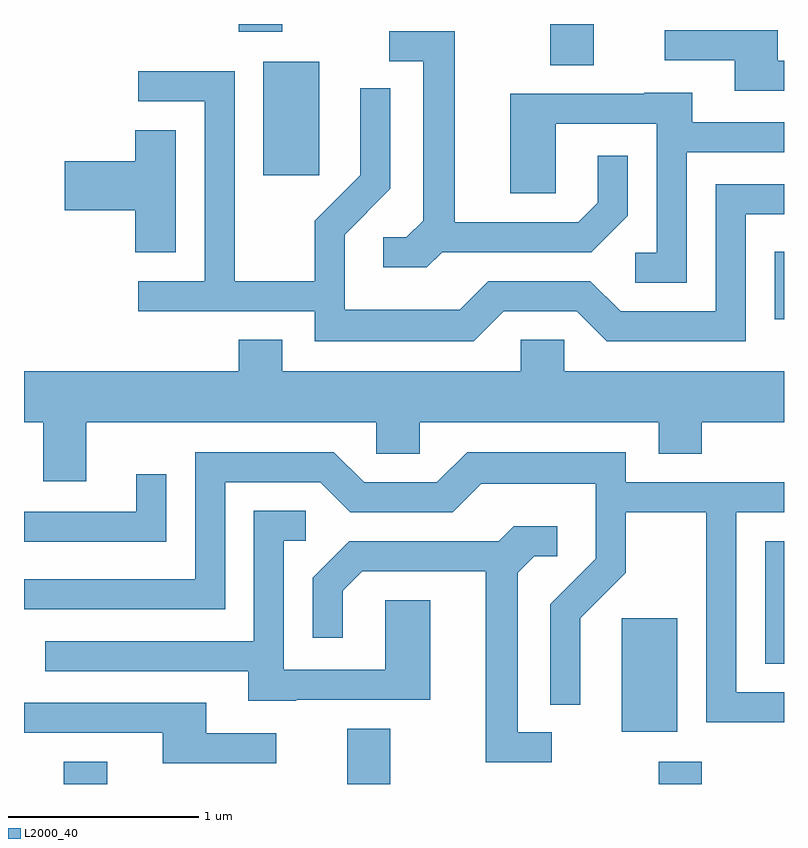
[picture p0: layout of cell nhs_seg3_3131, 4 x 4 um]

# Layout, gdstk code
import gdstk
lib = gdstk.Library(unit=1e-6, precision=1e-09)
def R(c, l, rs):  # rectangles x0, y0, x1, y1
    for r in rs: c.add(gdstk.rectangle(r[:2], r[2:], *l))
def P(c, l, *ps):  # polygons
    for p in ps: c.add(gdstk.Polygon(p, *l))
L2000_40 = (2000, 40)

nhs_seg3_3131 = lib.new_cell('nhs_seg3_3131')
R(nhs_seg3_3131, L2000_40, [(277.821,1121.892,278.049,1122.009), (279.311,1121.892,279.539,1122.184), (280.951,1121.892,281.179,1122.009), (280.756,1122.166,281.049,1122.764), (281.511,1122.526,281.611,1123.169), (281.561,1124.338,281.611,1124.694), (278.871,1125.096,279.164,1125.694), (280.381,1125.676,280.609,1125.892), (278.741,1125.851,278.969,1125.892)])
P(nhs_seg3_3131, L2000_40, [(281.611,1125.699),(281.579,1125.699),(281.579,1125.859),(280.983,1125.859),(280.983,1125.701),(281.351,1125.701),(281.351,1125.541),(281.611,1125.541)],
  [(279.812,1124.691),(280.597,1124.691),(280.789,1124.884),(280.789,1125.198),(280.631,1125.198),(280.631,1124.952),(280.529,1124.849),(279.879,1124.849),(279.879,1125.854),(279.533,1125.854),(279.533,1125.696),(279.711,1125.696),(279.711,1124.857),(279.624,1124.769),(279.503,1124.769),(279.503,1124.611),(279.732,1124.611)],
  [(280.137,1124.381),(280.519,1124.381),(280.679,1124.221),(281.409,1124.221),(281.409,1124.891),(281.611,1124.891),(281.611,1125.049),(281.251,1125.049),(281.251,1124.379),(280.752,1124.379),(280.592,1124.539),(280.054,1124.539),(279.904,1124.389),(279.299,1124.389),(279.299,1124.784),(279.539,1125.024),(279.539,1125.553),(279.381,1125.553),(279.381,1125.097),(279.141,1124.857),(279.141,1124.539),(278.719,1124.539),(278.719,1125.644),(278.213,1125.644),(278.213,1125.486),(278.561,1125.486),(278.561,1124.539),(278.213,1124.539),(278.213,1124.381),(279.141,1124.381),(279.141,1124.221),(279.977,1124.221)],
  [(281.099,1125.216),(281.611,1125.216),(281.611,1125.374),(281.129,1125.374),(281.129,1125.529),(280.875,1125.529),(280.875,1125.524),(280.171,1125.524),(280.171,1125.001),(280.409,1125.001),(280.409,1125.366),(280.941,1125.366),(280.941,1124.689),(280.828,1124.689),(280.828,1124.531),(281.099,1124.531)],
  [(278.409,1125.334),(278.196,1125.334),(278.196,1125.169),(277.826,1125.169),(277.826,1124.911),(278.196,1124.911),(278.196,1124.691),(278.409,1124.691)],
  [(277.939,1123.796),(279.466,1123.796),(279.466,1123.631),(279.694,1123.631),(279.694,1123.796),(280.951,1123.796),(280.951,1123.631),(281.179,1123.631),(281.179,1123.796),(281.611,1123.796),(281.611,1124.064),(280.454,1124.064),(280.454,1124.229),(280.226,1124.229),(280.226,1124.064),(278.969,1124.064),(278.969,1124.229),(278.741,1124.229),(278.741,1124.064),(277.611,1124.064),(277.611,1123.796),(277.711,1123.796),(277.711,1123.486),(277.939,1123.486)],
  [(281.611,1122.374),(281.359,1122.374),(281.359,1123.321),(281.611,1123.321),(281.611,1123.479),(280.779,1123.479),(280.779,1123.639),(279.944,1123.639),(279.784,1123.479),(279.402,1123.479),(279.242,1123.639),(278.511,1123.639),(278.511,1122.969),(277.611,1122.969),(277.611,1122.811),(278.669,1122.811),(278.669,1123.481),(279.169,1123.481),(279.329,1123.321),(279.867,1123.321),(280.017,1123.471),(280.621,1123.471),(280.621,1123.077),(280.381,1122.837),(280.381,1122.308),(280.539,1122.308),(280.539,1122.764),(280.779,1123.004),(280.779,1123.321),(281.201,1123.321),(281.201,1122.216),(281.611,1122.216)],
  [(278.359,1123.523),(278.201,1123.523),(278.201,1123.324),(277.611,1123.324),(277.611,1123.166),(278.359,1123.166)],
  [(279.045,1122.336),(279.749,1122.336),(279.749,1122.859),(279.511,1122.859),(279.511,1122.494),(278.979,1122.494),(278.979,1123.171),(279.093,1123.171),(279.093,1123.329),(278.821,1123.329),(278.821,1122.644),(277.723,1122.644),(277.723,1122.486),(278.791,1122.486),(278.791,1122.331),(279.045,1122.331)],
  [(280.388,1122.164),(280.209,1122.164),(280.209,1123.004),(280.297,1123.091),(280.418,1123.091),(280.418,1123.249),(280.189,1123.249),(280.109,1123.169),(279.324,1123.169),(279.131,1122.977),(279.131,1122.663),(279.289,1122.663),(279.289,1122.909),(279.392,1123.011),(280.041,1123.011),(280.041,1122.006),(280.388,1122.006)],
  [(278.938,1122.159),(278.569,1122.159),(278.569,1122.319),(277.611,1122.319),(277.611,1122.161),(278.341,1122.161),(278.341,1122.001),(278.938,1122.001)])

lib.write_gds('nhs_seg3_3131.gds')
